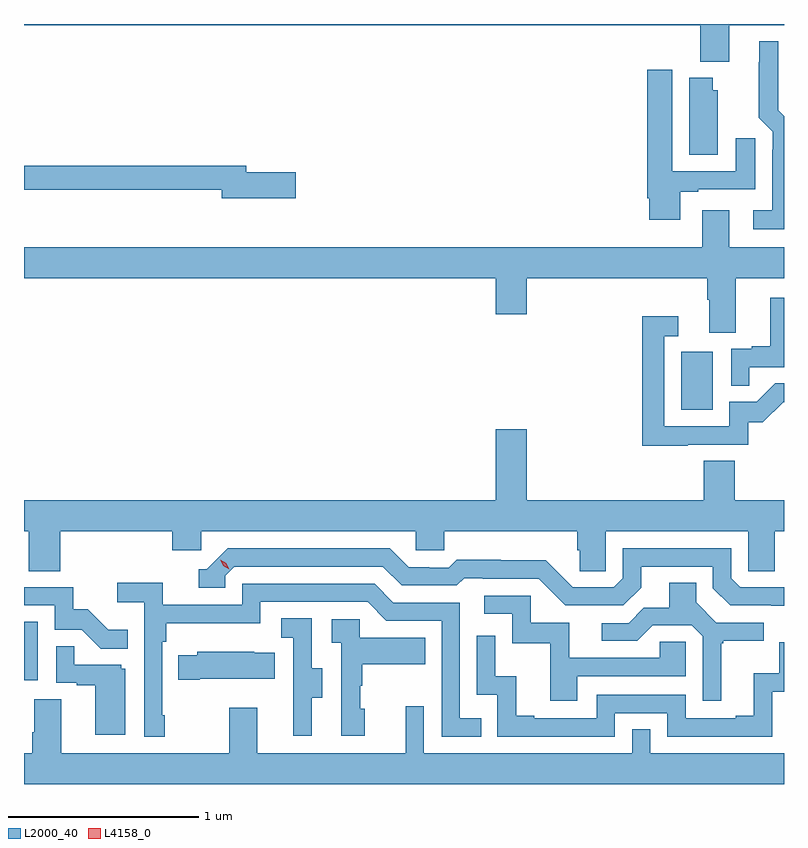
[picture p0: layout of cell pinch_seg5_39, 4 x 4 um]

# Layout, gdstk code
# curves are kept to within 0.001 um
import gdstk
lib = gdstk.Library(unit=1e-6, precision=1e-09)
def R(c, l, rs):  # rectangles x0, y0, x1, y1
    for r in rs: c.add(gdstk.rectangle(r[:2], r[2:], *l))
def P(c, l, *ps):  # polygons
    for p in ps: c.add(gdstk.Polygon(p, *l))
L2000_40 = (2000, 40)
L4158_0 = (4158, 0)

pinch_seg5_39 = lib.new_cell('pinch_seg5_39')
R(pinch_seg5_39, L2000_40, [(1097.59,910.59,1097.662,910.897), (1101.05,912.012,1101.214,912.319)])
P(pinch_seg5_39, L2000_40, [(1101.301,914.036),(1101.59,914.036),(1101.59,914.043),(1097.59,914.043),(1097.59,914.036),(1101.149,914.036),(1101.149,913.844),(1101.301,913.844)],
  [(1101.59,913.557),(1101.559,913.588),(1101.559,913.951),(1101.461,913.951),(1101.461,913.841),(1101.457,913.841),(1101.457,913.55),(1101.531,913.476),(1101.531,913.382),(1101.527,913.382),(1101.527,913.063),(1101.429,913.063),(1101.429,912.962),(1101.59,912.962)],
  [(1101.043,913.161),(1101.139,913.161),(1101.139,913.173),(1101.439,913.173),(1101.439,913.441),(1101.335,913.441),(1101.335,913.269),(1101.001,913.269),(1101.001,913.801),(1100.87,913.801),(1100.87,913.126),(1100.882,913.126),(1100.882,913.014),(1101.043,913.014)],
  [(1101.241,913.695),(1101.214,913.695),(1101.214,913.759),(1101.092,913.759),(1101.092,913.354),(1101.241,913.354)],
  [(1099.021,913.262),(1098.76,913.262),(1098.76,913.298),(1097.59,913.298),(1097.59,913.17),(1098.632,913.17),(1098.632,913.127),(1099.021,913.127)],
  [(1101.337,912.704),(1101.59,912.704),(1101.59,912.868),(1101.301,912.868),(1101.301,913.063),(1101.161,913.063),(1101.161,912.868),(1097.59,912.868),(1097.59,912.704),(1100.072,912.704),(1100.072,912.516),(1100.236,912.516),(1100.236,912.704),(1101.185,912.704),(1101.185,912.592),(1101.197,912.592),(1101.197,912.418),(1101.337,912.418)],
  [(1101.407,912.237),(1101.59,912.237),(1101.59,912.601),(1101.518,912.601),(1101.518,912.346),(1101.419,912.346),(1101.419,912.333),(1101.312,912.333),(1101.312,912.139),(1101.407,912.139)],
  [(1101.083,911.829),(1101.402,911.829),(1101.402,911.946),(1101.478,911.946),(1101.585,912.053),(1101.59,912.053),(1101.59,912.152),(1101.545,912.152),(1101.447,912.054),(1101.303,912.054),(1101.303,911.925),(1100.961,911.925),(1100.961,912.399),(1101.034,912.399),(1101.034,912.505),(1100.845,912.505),(1100.845,911.824),(1101.083,911.824)],
  [(1097.59,911.372),(1097.615,911.372),(1097.615,911.164),(1097.78,911.164),(1097.78,911.372),(1098.371,911.372),(1098.371,911.274),(1098.522,911.274),(1098.522,911.372),(1099.653,911.372),(1099.653,911.274),(1099.803,911.274),(1099.803,911.372),(1100.501,911.372),(1100.501,911.274),(1100.515,911.274),(1100.515,911.164),(1100.652,911.164),(1100.652,911.372),(1101.402,911.372),(1101.402,911.164),(1101.541,911.164),(1101.541,911.372),(1101.59,911.372),(1101.59,911.536),(1101.332,911.536),(1101.332,911.744),(1101.167,911.744),(1101.167,911.536),(1100.236,911.536),(1100.236,911.911),(1100.072,911.911),(1100.072,911.536),(1097.59,911.536)],
  [(1101.59,911.079),(1101.36,911.079),(1101.312,911.127),(1101.312,911.283),(1100.742,911.283),(1100.742,911.127),(1100.694,911.079),(1100.478,911.079),(1100.336,911.221),(1100.1,911.221),(1100.1,911.224),(1099.867,911.224),(1099.825,911.181),(1099.722,911.181),(1099.722,911.184),(1099.615,911.184),(1099.516,911.283),(1098.663,911.283),(1098.552,911.172),(1098.509,911.172),(1098.509,911.076),(1098.648,911.076),(1098.648,911.139),(1098.696,911.187),(1099.479,911.187),(1099.578,911.088),(1099.867,911.088),(1099.906,911.127),(1100.005,911.127),(1100.005,911.124),(1100.298,911.124),(1100.439,910.983),(1100.745,910.983),(1100.839,911.077),(1100.839,911.187),(1101.216,911.187),(1101.216,911.073),(1101.306,910.983),(1101.59,910.982)],
  [(1098.331,910.405),(1098.318,910.405),(1098.318,910.793),(1098.338,910.793),(1098.338,910.889),(1098.834,910.889),(1098.834,911.001),(1099.398,911.001),(1099.497,910.902),(1099.788,910.902),(1099.788,910.293),(1099.997,910.293),(1099.997,910.389),(1099.884,910.389),(1099.884,910.998),(1099.534,910.998),(1099.435,911.097),(1098.738,911.097),(1098.738,910.986),(1098.32,910.986),(1098.32,911.102),(1098.081,911.102),(1098.081,911),(1098.222,911),(1098.222,910.293),(1098.331,910.293)],
  [(1101.259,910.785),(1101.271,910.785),(1101.271,910.796),(1101.484,910.796),(1101.484,910.893),(1101.234,910.893),(1101.127,911),(1101.127,911.102),(1100.987,911.102),(1100.987,910.97),(1100.852,910.97),(1100.772,910.89),(1100.631,910.89),(1100.631,910.797),(1100.818,910.797),(1100.899,910.878),(1101.105,910.878),(1101.162,910.821),(1101.162,910.482),(1101.259,910.482)],
  [(1098.137,910.855),(1098.033,910.855),(1097.926,910.962),(1097.85,910.962),(1097.85,911.079),(1097.59,911.079),(1097.59,910.983),(1097.751,910.983),(1097.751,910.854),(1097.895,910.854),(1097.993,910.756),(1098.137,910.756)],
  [(1100.503,910.611),(1101.072,910.611),(1101.072,910.791),(1100.935,910.791),(1100.935,910.707),(1100.461,910.707),(1100.461,910.893),(1100.256,910.893),(1100.256,911.034),(1100.013,911.034),(1100.013,910.938),(1100.16,910.938),(1100.16,910.785),(1100.359,910.785),(1100.359,910.482),(1100.503,910.482)],
  [(1099.105,910.498),(1099.159,910.498),(1099.159,910.653),(1099.104,910.653),(1099.104,910.916),(1098.945,910.916),(1098.945,910.813),(1099.008,910.813),(1099.008,910.509),(1099.007,910.509),(1099.007,910.296),(1099.105,910.296)],
  [(1099.384,910.44),(1099.359,910.44),(1099.359,910.559),(1099.369,910.559),(1099.369,910.673),(1099.703,910.673),(1099.703,910.813),(1099.356,910.813),(1099.356,910.911),(1099.209,910.911),(1099.209,910.787),(1099.26,910.787),(1099.26,910.296),(1099.384,910.296)],
  [(1100.7,910.416),(1100.976,910.416),(1100.976,910.293),(1101.528,910.293),(1101.528,910.529),(1101.59,910.529),(1101.59,910.788),(1101.564,910.788),(1101.564,910.627),(1101.431,910.627),(1101.431,910.402),(1101.335,910.402),(1101.335,910.389),(1101.072,910.389),(1101.072,910.512),(1100.604,910.512),(1100.604,910.389),(1100.275,910.389),(1100.275,910.402),(1100.18,910.402),(1100.18,910.61),(1100.07,910.61),(1100.07,910.822),(1099.974,910.822),(1099.974,910.512),(1100.082,910.512),(1100.082,910.293),(1100.7,910.293)],
  [(1098.124,910.65),(1098.102,910.65),(1098.102,910.671),(1097.855,910.671),(1097.855,910.769),(1097.76,910.769),(1097.76,910.575),(1097.867,910.575),(1097.867,910.563),(1097.966,910.563),(1097.966,910.302),(1098.124,910.302)],
  [(1098.514,910.598),(1098.911,910.598),(1098.911,910.735),(1098.803,910.735),(1098.803,910.738),(1098.501,910.738),(1098.501,910.72),(1098.403,910.72),(1098.403,910.591),(1098.514,910.591)],
  [(1101.59,910.204),(1100.886,910.204),(1100.886,910.331),(1100.79,910.331),(1100.79,910.204),(1099.695,910.204),(1099.695,910.453),(1099.598,910.453),(1099.598,910.204),(1098.817,910.204),(1098.817,910.444),(1098.67,910.444),(1098.67,910.204),(1097.785,910.204),(1097.785,910.49),(1097.645,910.49),(1097.645,910.316),(1097.633,910.316),(1097.633,910.204),(1097.59,910.204),(1097.59,910.043),(1101.59,910.043)])
P(pinch_seg5_39, L4158_0, [(1098.67,911.172),(1098.639,911.191),(1098.623,911.224),(1098.623,911.224),(1098.624,911.224),(1098.654,911.204),(1098.67,911.172),(1098.67,911.172)])

lib.write_gds('pinch_seg5_39.gds')
